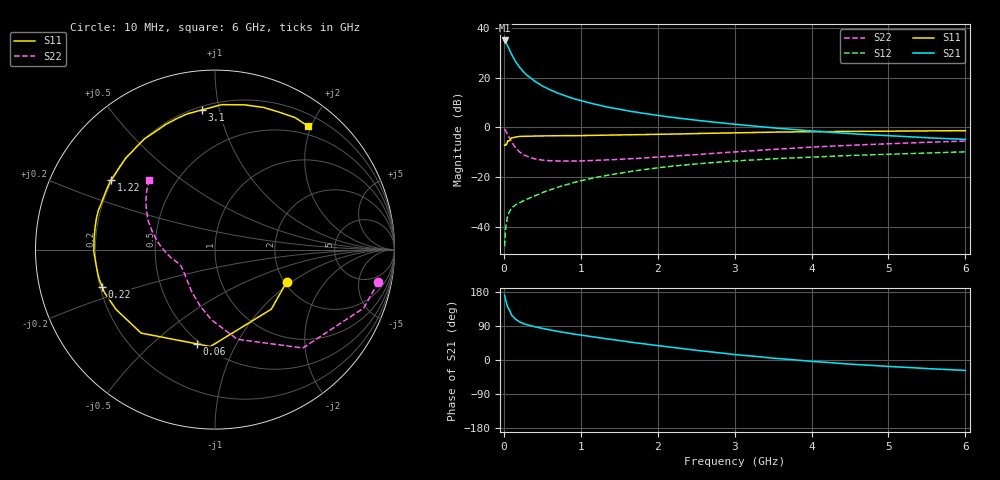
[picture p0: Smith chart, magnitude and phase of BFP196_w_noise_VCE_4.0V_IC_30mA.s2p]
! Infineon Technologies  Discrete & RF Semiconductors
! BFP196
! VCE = 4.0 V,  IC =  30mA
! Common Emitter S-Parameters:  Jan 2016
# GHz  S  MA  R  50
!  f  S11  S21  S12  S22
! GHz  MAG  ANG  MAG  ANG  MAG  ANG  MAG  ANG
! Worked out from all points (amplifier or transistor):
!   210 points, 10 MHz to 6 GHz, reference 50 ohm
!   highest |S21| = 35.0 dB at 10 MHz (marker M1)
!   |S21| within 3 dB of that: start of sweep to 62.89 MHz
!   unconditionally stable (mu >= 1): 575.4 MHz to 3.469 GHz; 3.573 GHz to 3.937 GHz
!   at 185 MHz: K = 0.58, MSG = 27.8 dB, |S12| = -30.6 dB
!   at 1.52 GHz: K = 1.09, MAG = 10.9 dB, |S12| = -18.3 dB
!   at 6 GHz: K = 0.97, MSG = 2.5 dB, |S12| = -9.8 dB
!   lowest NFmin = 1.40 dB at 500 MHz
!   S11 on the Smith chart (normalised r, x): 10 MHz: 2.05, -0.92; 60 MHz: 0.48, -0.70; 220 MHz: 0.21, -0.15; 1.22 GHz: 0.19, +0.29; 3.1 GHz: 0.22, +0.89; 6 GHz: 0.37, +1.94
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0.01  0.4379 -24.3  56.24 170.7  0.0041 78.9  0.9288 -11.3
0.02  0.4567 -46.6  53.47 160.8  0.0081 73.4  0.8898 -21.5
0.05  0.5405 -92.7  43.91 139.2  0.0169 57.7  0.735 -48.2
0.06  0.5349 -101.1  40.72 136.3  0.0182 54.8  0.6807 -52.3
0.1  0.6211 -131.5  29.6 118.5  0.0239 46.7  0.5146 -76.1
0.15  0.6443 -148.8  21.33 107.6  0.0276 43.9  0.3932 -92.6
0.2  0.6609 -159.0  16.58 100.9  0.0303 44.7  0.3269 -104.4
0.22  0.6621 -161.9  15.28 99.3  0.0315 45.3  0.3095 -107.8
0.26  0.6665 -167.2  12.93 95.6  0.0339 46.7  0.2811 -114.9
0.3  0.6673 -171.4  11.25 92.8  0.036 48.7  0.2636 -120.3
0.4  0.6753 -179.1  8.555 87.7  0.042 51.5  0.234 -130.9
0.5  0.6765 175.3  6.839 83.3  0.0488 54.6  0.2205 -138.4
0.6  0.6795 170.1  5.723 79.2  0.0557 56.1  0.2142 -143.5
0.7  0.683 165.3  4.924 75.3  0.0627 56.9  0.2116 -147.5
1.02  0.6877 153.2  3.396 65.1  0.0862 57.0  0.2126 -155.9
1.22  0.6971 146.1  2.847 59.2  0.1006 55.9  0.2186 -159.6
1.6  0.7128 134.2  2.174 48.5  0.1276 52.1  0.234 -165.2
2.02  0.7314 122.0  1.731 37.5  0.1555 46.8  0.255 -171.7
3.1  0.7818 95.3  1.122 12.6  0.2162 32.4  0.3296 170.6
4.1  0.8248 77.0  0.829 -4.9  0.2576 20.3  0.4101 155.6
5.1  0.8479 63.5  0.668 -18.0  0.2938 9.2  0.4775 143.6
6  0.8606 53.2  0.576 -27.6  0.3239 -0.8  0.5332 133.3
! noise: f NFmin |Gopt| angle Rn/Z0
0.5  1.4  0.4  -173  0.08
0.9  1.6  0.5  -166  0.08
1.5  2.4  0.61  -150  0.14
2  2.9  0.71  -129  0.2
